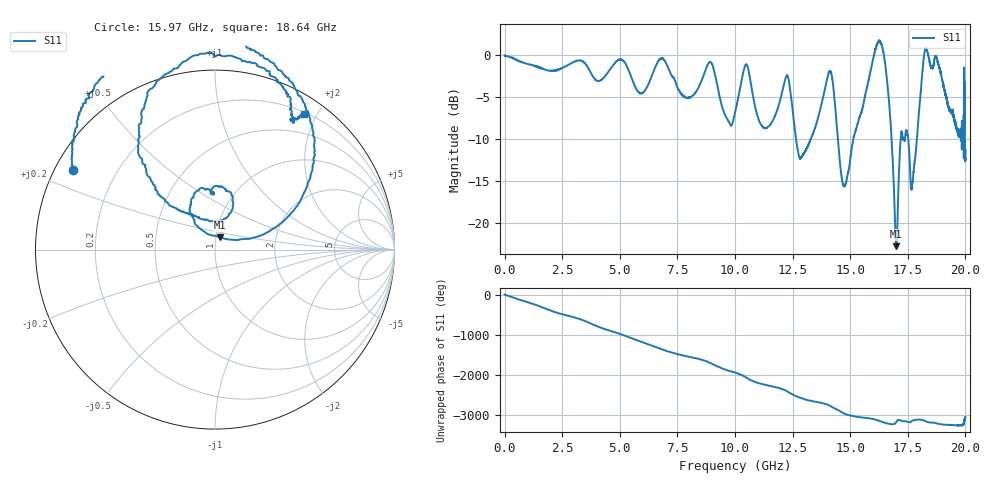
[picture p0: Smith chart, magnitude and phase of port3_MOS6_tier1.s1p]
! Created with skrf 1.8.0 (http://scikit-rf.org).
# GHz S RI R 50.0
!freq ReS11 ImS11
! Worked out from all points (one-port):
!   10000 points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, 3 MHz to 20 GHz, reference 50 ohm
!   lowest |S11| = -22.8 dB at 16.99 GHz (marker M1), VSWR 1.16, Z = 52.2 + j7.11 ohm
!   |S11| at or under -10 dB: 12.65 GHz to 13.29 GHz (647.5 MHz wide, 4.99 % of centre); 14.47 GHz to 15.13 GHz (669 MHz wide, 4.52 % of centre); 16.8 GHz to 17.2 GHz (399.1 MHz wide, 2.35 % of centre) (the widest 3 of 15)
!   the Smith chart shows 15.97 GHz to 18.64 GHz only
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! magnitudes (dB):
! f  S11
! 3 MHz  0.0
! 2.503 GHz  -1.6
! 4.101 GHz  -3.1
! 5.003 GHz  -0.5
! 5.873 GHz  -4.6
! 6.809 GHz  -0.4
! 7.503 GHz  -3.9
! 8.127 GHz  -5.0
! 8.937 GHz  -0.9
! 9.605 GHz  -7.4
! 10 GHz  -6.9
! 10.48 GHz  -1.1
! 11.21 GHz  -8.6
! 12.24 GHz  -2.5
! 12.5 GHz  -6.6
! 12.9 GHz  -12.1
! 14.13 GHz  -2.0
! 14.67 GHz  -15.2
! 15 GHz  -12.4
! 16.3 GHz  1.5
! 16.65 GHz  -4.6
! 16.99 GHz  -22.8
! 17.22 GHz  -9.1
! 17.5 GHz  -9.5
! 17.72 GHz  -14.9
! 18.3 GHz  0.7
! 18.78 GHz  -0.6
! 20 GHz  -12.4
